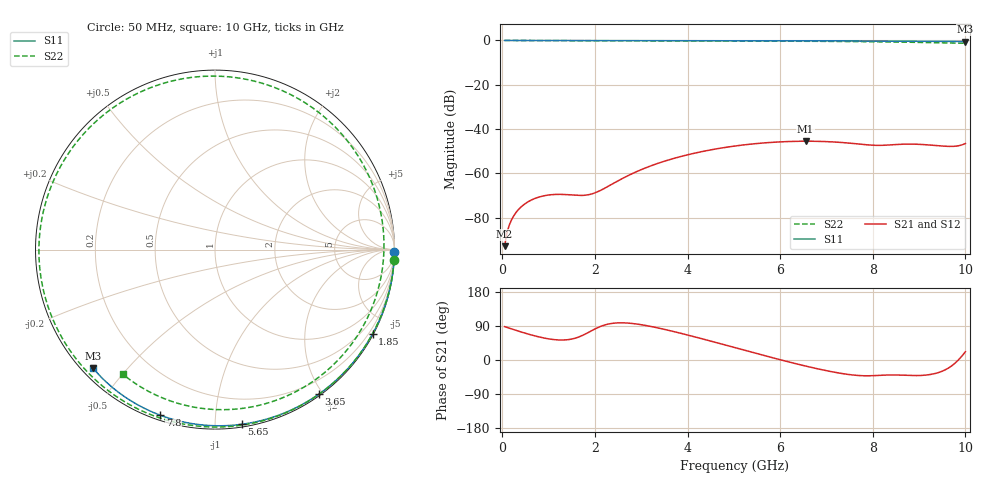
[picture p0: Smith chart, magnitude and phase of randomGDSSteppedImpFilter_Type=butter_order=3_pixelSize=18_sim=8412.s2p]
! freq	dB(S11)	phase(S11)	dB(S12)	phase(S12)
!  dB(S21)	phase(S21)	dB(S22)	phase(S22)
!S-par simulation data
#  GHz  S  DB  R 50
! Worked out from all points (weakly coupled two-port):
!   200 points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, 50 MHz to 10 GHz, reference 50 ohm
!   highest |S21| = -45.53 dB at 6.55 GHz (marker M1); lowest = -93.0 dB at 50 MHz (marker M2)
!   lowest |S11| = -0.5 dB at 10 GHz (marker M3), VSWR 36.60, Z = 1.59 - j20.3 ohm
!   |S11| at or under -10 dB: nowhere
!   |S22| runs from -1.3 to 0.0 dB; largest |S21 - S12| = 0
!   S11 on the Smith chart (normalised r, x): 50 MHz: open; 1.85 GHz: 0.03, -3.99; 3.65 GHz: 0.02, -1.95; 5.65 GHz: 0.02, -1.16; 7.8 GHz: 0.02, -0.72; 10 GHz: 0.03, -0.41
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0.05  -0.00 -0.8  -92.95 88.0  -92.95 88.0  -0.00 -3.3
0.2  -0.00 -3.1  -81.01 82.0  -81.01 82.0  -0.02 -13.2
0.5  -0.01 -7.7  -73.66 70.5  -73.66 70.5  -0.05 -32.6
0.9  -0.02 -13.8  -70.18 58.0  -70.18 58.0  -0.07 -57.4
1.3  -0.02 -19.9  -69.57 52.7  -69.57 52.7  -0.09 -80.3
1.75  -0.03 -26.7  -69.99 65.9  -69.99 65.9  -0.11 -103.7
1.85  -0.04 -28.1  -69.75 72.2  -69.75 72.2  -0.11 -108.5
2.6  -0.05 -39.2  -62.30 98.1  -62.30 98.1  -0.14 -142.0
3.4  -0.07 -50.7  -55.25 83.6  -55.25 83.6  -0.16 -173.6
3.65  -0.07 -54.3  -53.62 76.6  -53.62 76.6  -0.17 177.0
4.35  -0.09 -64.0  -50.05 54.8  -50.05 54.8  -0.20 151.0
5.05  -0.11 -73.4  -47.62 31.8  -47.62 31.8  -0.24 124.4
5.65  -0.13 -81.3  -46.29 12.0  -46.29 12.0  -0.28 100.2
6.55  -0.17 -92.8  -45.53 -16.0  -45.53 -16.0  -0.35 60.1
6.7  -0.18 -94.7  -45.54 -20.2  -45.54 -20.2  -0.37 53.0
7.3  -0.22 -102.2  -46.06 -35.0  -46.06 -35.0  -0.45 22.9
7.8  -0.25 -108.3  -47.01 -41.6  -47.01 -41.6  -0.54 -3.6
8.35  -0.29 -115.0  -47.24 -39.4  -47.24 -39.4  -0.67 -33.8
8.8  -0.33 -120.4  -46.83 -40.9  -46.83 -40.9  -0.80 -58.9
9.2  -0.37 -125.3  -47.20 -39.0  -47.20 -39.0  -0.94 -81.3
9.6  -0.41 -130.4  -47.83 -23.6  -47.83 -23.6  -1.10 -103.8
10  -0.47 -135.8  -46.57 21.9  -46.57 21.9  -1.27 -126.4
